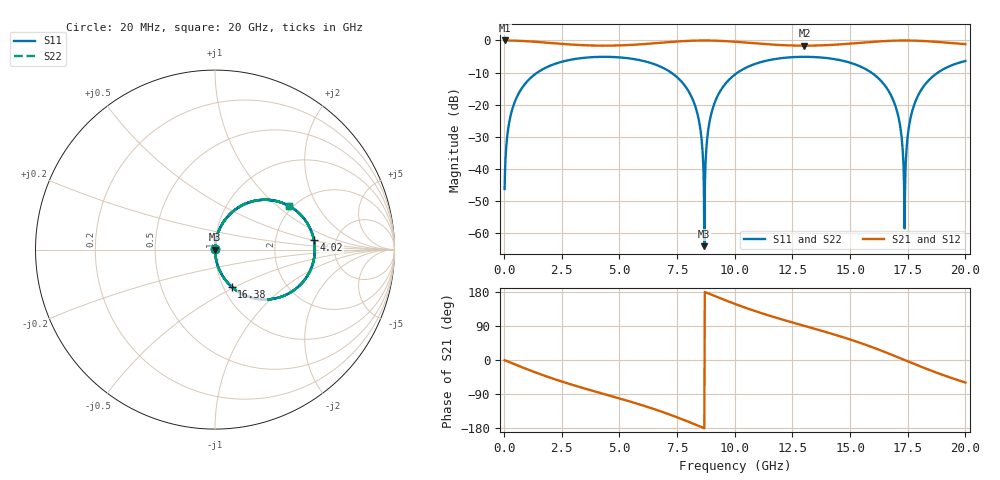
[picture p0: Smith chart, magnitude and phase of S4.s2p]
! Touchstone file exported from Circuit Design 2026.1.0
!  File:  local/demo-project/Project1.aedt
!  Generated:  01:58:43 PM Apr 21, 2026
!  Design:  Circuit1
!  Project:  Project1
!  Setup:  LinearFrequency
!  Solution:  LinearFrequency
# GHz S MA R 50.000000
! Terminal data exported
! Port[1] = Port1
! Port[2] = Port2
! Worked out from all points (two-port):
!   1000 points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, 20 MHz to 20 GHz, reference 50 ohm
!   highest |S21| = 0.00 dB at 20 MHz (marker M1); lowest = -1.6 dB at 13.02 GHz (marker M2)
!   |S21| within 3 dB of the highest: start of sweep to end of sweep
!   lowest |S11| = -64.0 dB at 8.68 GHz (marker M3), VSWR 1.00, Z = 50.1 - j0.0278 ohm
!   |S11| at or under -10 dB: start of sweep to 1.438 GHz; 7.241 GHz to 10.12 GHz (2.881 GHz wide, 33.2 % of centre); 15.92 GHz to 18.81 GHz (2.883 GHz wide, 16.6 % of centre)
!   |S22| runs from -64.0 to -5.1 dB; largest |S21 - S12| = 1.6e-14
!   S11 on the Smith chart (normalised r, x): 20 MHz: 1.00, +0.01; 4.02 GHz: 3.40, +0.52; 16.38 GHz: 1.10, -0.48; 20 GHz: 1.91, +1.20
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0.02  0.00489 87.9  0.9999 -0.5  0.9999 -0.5  0.00489 87.9
! Gamma 0 0 0 0
! Port Impedance 50 0 50 0
0.26  0.06302 83.2  0.9977 -6.5  0.9977 -6.5  0.06302 83.2
0.78  0.1837 70.6  0.9825 -19.3  0.9825 -19.3  0.1837 70.6
3.36  0.5319 17.1  0.8462 -72.9  0.8462 -72.9  0.5319 17.1
4.02  0.5539 5.5  0.832 -84.5  0.832 -84.5  0.5539 5.5
6.68  0.4055 -43.2  0.9134 -133.2  0.9134 -133.2  0.4055 -43.2
8.16  0.1245 -76.8  0.9913 -167.1  0.9913 -167.1  0.1245 -76.8
8.46  0.05343 -83.9  0.9976 -174.5  0.9976 -174.5  0.05343 -83.9
8.68  0.00063 -26.2  0.999 -180.0  0.999 -180.0  0.00063 -26.2
8.76  0.0191 86.3  0.9988 178.0  0.9988 178.0  0.0191 86.3
8.88  0.04807 84.3  0.9978 175.0  0.9978 175.0  0.04807 84.3
9.08  0.09582 79.7  0.9943 170.1  0.9943 170.1  0.09582 79.7
10.02  0.2976 57.5  0.9536 147.7  0.9536 147.7  0.2976 57.5
13.02  0.5561 0.0  0.8301 90.0  0.8301 90.0  0.5561 0.0
13.34  0.5536 -5.5  0.8318 84.5  0.8318 84.5  0.5536 -5.5
16.38  0.227 -65.7  0.9726 24.1  0.9726 24.1  0.227 -65.7
16.68  0.1617 -72.9  0.9855 16.9  0.9855 16.9  0.1617 -72.9
17.1  0.0636 -82.7  0.9966 6.6  0.9966 6.6  0.0636 -82.7
17.36  0.001192 -47.9  0.9986 0.1  0.9986 0.1  0.001192 -47.9
17.62  0.06184 82.9  0.9966 -6.4  0.9966 -6.4  0.06184 82.9
18.02  0.1555 73.5  0.9864 -16.2  0.9864 -16.2  0.1555 73.5
20  0.4789 30.5  0.8765 -59.5  0.8765 -59.5  0.4789 30.5
